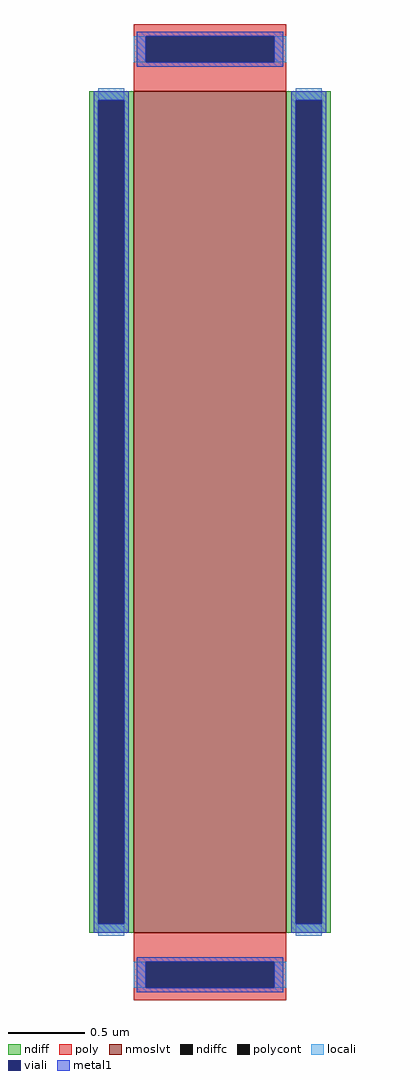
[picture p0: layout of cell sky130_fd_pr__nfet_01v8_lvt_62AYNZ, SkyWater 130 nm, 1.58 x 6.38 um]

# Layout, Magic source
magic
tech sky130A
<< nmoslvt >>
rect -50 -275 50 275
<< ndiff >>
rect -79 269 -50 275
rect -79 -269 -73 269
rect -56 -269 -50 269
rect -79 -275 -50 -269
rect 50 269 79 275
rect 50 -269 56 269
rect 73 -269 79 269
rect 50 -275 79 -269
<< ndiffc >>
rect -73 -269 -56 269
rect 56 -269 73 269
<< poly >>
rect -50 311 50 319
rect -50 294 -42 311
rect 42 294 50 311
rect -50 275 50 294
rect -50 -294 50 -275
rect -50 -311 -42 -294
rect 42 -311 50 -294
rect -50 -319 50 -311
<< polycont >>
rect -42 294 42 311
rect -42 -311 42 -294
<< locali >>
rect -50 294 -42 311
rect 42 294 50 311
rect -73 269 -56 277
rect -73 -277 -56 -269
rect 56 269 73 277
rect 56 -277 73 -269
rect -50 -311 -42 -294
rect 42 -311 50 -294
<< viali >>
rect -42 294 42 311
rect -73 -269 -56 269
rect 56 -269 73 269
rect -42 -311 42 -294
<< metal1 >>
rect -48 311 48 314
rect -48 294 -42 311
rect 42 294 48 311
rect -48 291 48 294
rect -76 269 -53 275
rect -76 -269 -73 269
rect -56 -269 -53 269
rect -76 -275 -53 -269
rect 53 269 76 275
rect 53 -269 56 269
rect 73 -269 76 269
rect 53 -275 76 -269
rect -48 -294 48 -291
rect -48 -311 -42 -294
rect 42 -311 48 -294
rect -48 -314 48 -311
<< properties >>
string gencell sky130_fd_pr__nfet_01v8_lvt
string library sky130
string parameters w 5.5 l 1 m 1 nf 1 diffcov 100 polycov 100 guard 0 glc 0 grc 0 gtc 0 gbc 0 tbcov 100 rlcov 100 topc 1 botc 1 poverlap 0 doverlap 1 lmin 0.15 wmin 0.42 compatible {sky130_fd_pr__nfet_01v8 sky130_fd_pr__nfet_01v8_lvt  sky130_fd_bs_flash__special_sonosfet_star  sky130_fd_pr__nfet_g5v0d10v5 sky130_fd_pr__nfet_05v0_nvt  sky130_fd_pr__nfet_03v3_nvt} full_metal 0 viasrc 100 viadrn 100 viagate 100 viagb 0 viagr 0 viagl 0 viagt 0
<< end >>
